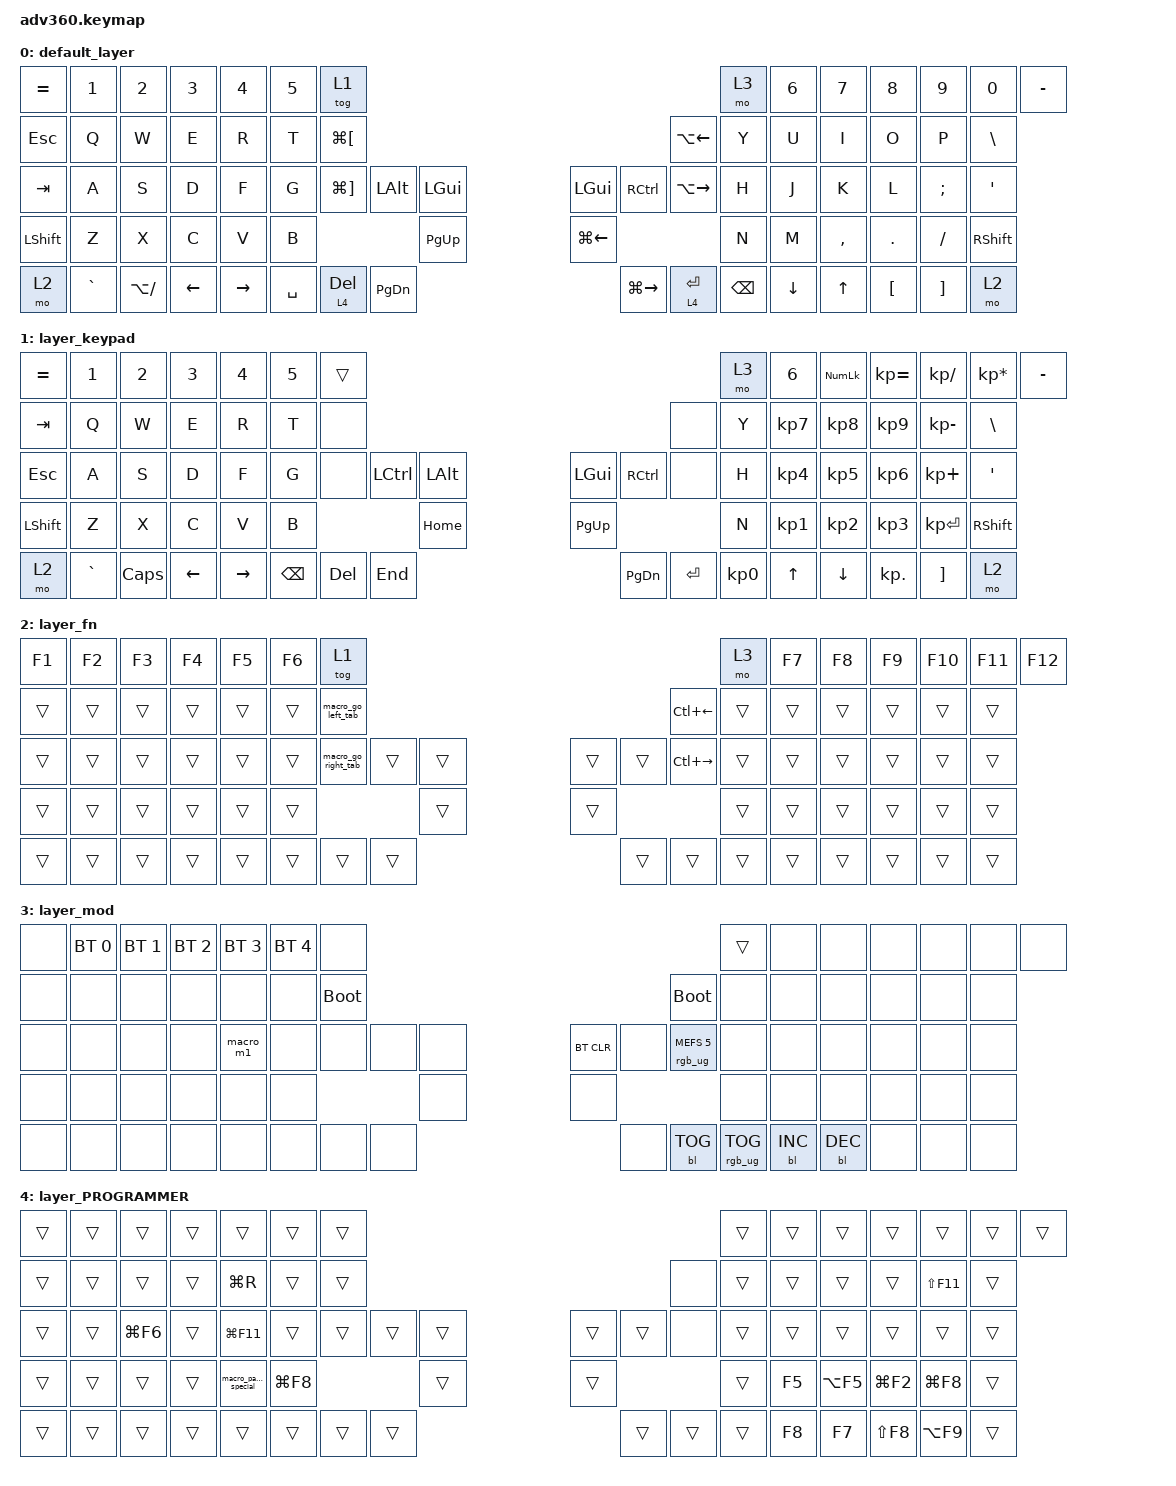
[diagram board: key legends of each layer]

/*
 * Copyright (c) 2020 The ZMK Contributors
 *
 * SPDX-License-Identifier: MIT
 */


/* THIS FILE WAS GENERATED!
 *
 * This file was generated automatically. You may or may not want to
 * edit it directly.
 */

#include <behaviors.dtsi>
#include <dt-bindings/zmk/keys.h>
#include <dt-bindings/zmk/bt.h>
#include <dt-bindings/zmk/rgb.h>
#include <dt-bindings/zmk/backlight.h>

/ {
  behaviors {
    #include "macros.dtsi"
    #include "version.dtsi"

    hm: homerow_mods {
        compatible = "zmk,behavior-hold-tap";
        label = "HOMEROW_MODS";
        #binding-cells = <2>;
        tapping-term-ms = <200>;
        quick_tap_ms = <175>;
        flavor = "tap-preferred";
        bindings = <&kp>, <&kp>;
    };
  };

    keymap {
        compatible = "zmk,keymap";


        default_layer {
            bindings = <
 &kp EQUAL     &kp N1         &kp N2    &kp N3     &kp N4  &kp N5                           &tog 1                                                                            &mo 3  &kp N6    &kp N7     &kp N8    &kp N9    &kp N0  &kp MINUS
   &kp ESC      &kp Q          &kp W     &kp E      &kp R   &kp T             &kp LG(LEFT_BRACKET)                                                                     &kp LA(LEFT)   &kp Y     &kp U      &kp I     &kp O     &kp P   &kp BSLH
   &kp TAB      &kp A          &kp S     &kp D      &kp F   &kp G            &kp LG(RIGHT_BRACKET)   &kp LALT   &kp LGUI                       &kp LGUI    &kp RCTRL  &kp LA(RIGHT)   &kp H     &kp J      &kp K     &kp L  &kp SEMI    &kp SQT
 &kp LSHFT      &kp Z          &kp X     &kp C      &kp V   &kp B                                              &kp PG_UP                   &kp LG(LEFT)                               &kp N     &kp M  &kp COMMA   &kp DOT  &kp FSLH  &kp RSHFT
     &mo 2  &kp GRAVE  &kp LA(SLASH)  &kp LEFT  &kp RIGHT                                &kp SPACE  &lt 4 DEL  &kp PG_DN                  &kp LG(RIGHT)  &lt 4 ENTER  &kp BACKSPACE          &kp DOWN     &kp UP  &kp LBKT  &kp RBKT      &mo 2
            >;
        };

        layer_keypad {
            bindings = <
 &kp EQUAL     &kp N1    &kp N2    &kp N3     &kp N4  &kp N5              &trans                                                                 &mo 3  &kp N6  &kp KP_NUM  &kp KP_EQUAL  &kp KP_DIVIDE  &kp KP_MULTIPLY  &kp MINUS
   &kp TAB      &kp Q     &kp W     &kp E      &kp R   &kp T               &none                                                                 &none   &kp Y   &kp KP_N7     &kp KP_N8      &kp KP_N9     &kp KP_MINUS   &kp BSLH
   &kp ESC      &kp A     &kp S     &kp D      &kp F   &kp G               &none  &kp LCTRL  &kp LALT                   &kp LGUI  &kp RCTRL      &none   &kp H   &kp KP_N4     &kp KP_N5      &kp KP_N6      &kp KP_PLUS    &kp SQT
 &kp LSHFT      &kp Z     &kp X     &kp C      &kp V   &kp B                                 &kp HOME                  &kp PG_UP                         &kp N   &kp KP_N1     &kp KP_N2      &kp KP_N3     &kp KP_ENTER  &kp RSHFT
     &mo 2  &kp GRAVE  &kp CAPS  &kp LEFT  &kp RIGHT                    &kp BSPC    &kp DEL   &kp END                  &kp PG_DN  &kp ENTER  &kp KP_N0              &kp UP      &kp DOWN     &kp KP_DOT         &kp RBKT      &mo 2
            >;
        };

        layer_fn {
            bindings = <
 &kp F1  &kp F2  &kp F3  &kp F4  &kp F5  &kp F6                         &tog 1                                                                &mo 3  &kp F7  &kp F8  &kp F9  &kp F10  &kp F11  &kp F12
 &trans  &trans  &trans  &trans  &trans  &trans             &macro_go_left_tab                                                   &kp LC(LEFT_ARROW)  &trans  &trans  &trans   &trans   &trans   &trans
 &trans  &trans  &trans  &trans  &trans  &trans            &macro_go_right_tab  &trans  &trans                  &trans  &trans  &kp LC(RIGHT_ARROW)  &trans  &trans  &trans   &trans   &trans   &trans
 &trans  &trans  &trans  &trans  &trans  &trans                                         &trans                  &trans                               &trans  &trans  &trans   &trans   &trans   &trans
 &trans  &trans  &trans  &trans  &trans                                 &trans  &trans  &trans                  &trans  &trans               &trans          &trans  &trans   &trans   &trans   &trans
            >;
        };

        layer_mod {
            bindings = <
  &none  &bt BT_SEL 0  &bt BT_SEL 1  &bt BT_SEL 2  &bt BT_SEL 3  &bt BT_SEL 4                  &none                                                                          &trans   &none       &none       &none   &none   &none   &none
  &none         &none         &none         &none         &none         &none            &bootloader                                                                     &bootloader   &none       &none       &none   &none   &none   &none
  &none         &none         &none         &none     &macro_m1         &none                  &none   &none   &none                  &bt BT_CLR       &none  &rgb_ug RGB_MEFS_CMD 5   &none       &none       &none   &none   &none   &none
  &none         &none         &none         &none         &none         &none                                  &none                       &none                                       &none       &none       &none   &none   &none   &none
  &none         &none         &none         &none         &none                                &none   &none   &none                       &none  &bl BL_TOG         &rgb_ug RGB_TOG          &bl BL_INC  &bl BL_DEC   &none   &none   &none
            >;
        };

        layer_PROGRAMMER {
            bindings = <
 &trans  &trans      &trans  &trans                &trans      &trans            &trans                                                  &trans  &trans  &trans      &trans      &trans       &trans  &trans
 &trans  &trans      &trans  &trans             &kp LG(R)      &trans            &trans                                                   &none  &trans  &trans      &trans      &trans  &kp LS(F11)  &trans
 &trans  &trans  &kp LG(F6)  &trans           &kp LG(F11)      &trans            &trans  &trans  &trans                  &trans  &trans   &none  &trans  &trans      &trans      &trans       &trans  &trans
 &trans  &trans      &trans  &trans  &macro_paste_special  &kp LG(F8)                            &trans                  &trans                  &trans  &kp F5  &kp LA(F5)  &kp LG(F2)   &kp LG(F8)  &trans
 &trans  &trans      &trans  &trans                &trans                        &trans  &trans  &trans                  &trans  &trans  &trans          &kp F8      &kp F7  &kp LS(F8)   &kp LA(F9)  &trans
            >;
        };

    };
};
